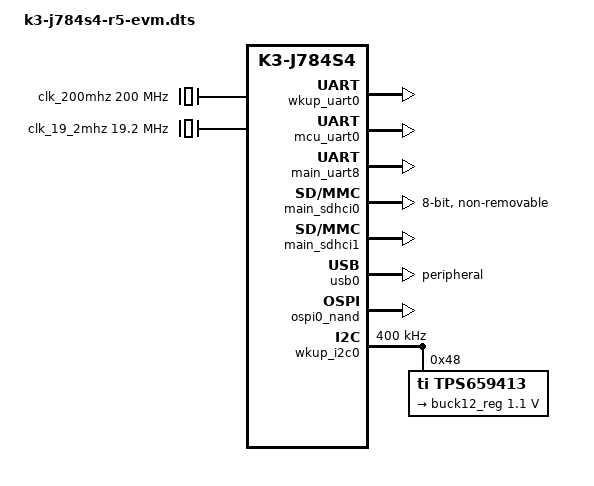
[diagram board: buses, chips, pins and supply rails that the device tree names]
// SPDX-License-Identifier: GPL-2.0
/*
 * Copyright (C) 2022 Texas Instruments Incorporated - https://www.ti.com/
 */

/dts-v1/;

#include "k3-j784s4-evm.dts"
#include "k3-j784s4-ddr-evm-lp4-4266.dtsi"
#include "k3-j784s4-ddr.dtsi"
#include "k3-j784s4-evm-u-boot.dtsi"

/ {
	chosen {
		firmware-loader = &fs_loader0;
		stdout-path = &main_uart8;
		tick-timer = &timer1;
	};

	aliases {
		remoteproc0 = &sysctrler;
		remoteproc1 = &a72_0;
	};

	fs_loader0: fs_loader@0 {
		compatible = "u-boot,fs-loader";
		bootph-all;
	};

	a72_0: a72@0 {
		compatible = "ti,am654-rproc";
		reg = <0x0 0x00a90000 0x0 0x10>;
		power-domains = <&k3_pds 61 TI_SCI_PD_EXCLUSIVE>,
				<&k3_pds 202 TI_SCI_PD_EXCLUSIVE>;
		resets = <&k3_reset 202 0>;
		clocks = <&k3_clks 61 0>;
		assigned-clocks = <&k3_clks 61 0>, <&k3_clks 202 0>;
		assigned-clock-parents = <&k3_clks 61 2>;
		assigned-clock-rates = <200000000>, <2000000000>;
		ti,sci = <&sms>;
		ti,sci-proc-id = <32>;
		ti,sci-host-id = <10>;
		bootph-pre-ram;
	};

	clk_200mhz: dummy_clock_200mhz {
		compatible = "fixed-clock";
		#clock-cells = <0>;
		clock-frequency = <200000000>;
		bootph-pre-ram;
	};

	clk_19_2mhz: dummy_clock_19_2mhz {
		compatible = "fixed-clock";
		#clock-cells = <0>;
		clock-frequency = <19200000>;
		bootph-pre-ram;
	};
};

&cbass_mcu_wakeup {
	sa3_secproxy: secproxy@44880000 {
		bootph-pre-ram;
		compatible = "ti,am654-secure-proxy";
		reg = <0x0 0x44880000 0x0 0x20000>,
		      <0x0 0x44860000 0x0 0x20000>,
		      <0x0 0x43600000 0x0 0x10000>;
		reg-names = "rt", "scfg", "target_data";
		#mbox-cells = <1>;
	};

	mcu_secproxy: secproxy@2a380000 {
		compatible = "ti,am654-secure-proxy";
		reg = <0x0 0x2a380000 0x0 0x80000>,
		      <0x0 0x2a400000 0x0 0x80000>,
		      <0x0 0x2a480000 0x0 0x80000>;
		reg-names = "rt", "scfg", "target_data";
		#mbox-cells = <1>;
		bootph-pre-ram;
	};

	sysctrler: sysctrler {
		compatible = "ti,am654-system-controller";
		mboxes= <&mcu_secproxy 4>, <&mcu_secproxy 5>, <&sa3_secproxy 5>;
		mbox-names = "tx", "rx", "boot_notify";
		bootph-pre-ram;
	};

	dm_tifs: dm-tifs {
		compatible = "ti,j721e-dm-sci";
		ti,host-id = <3>;
		ti,secure-host;
		mbox-names = "rx", "tx";
		mboxes= <&mcu_secproxy 21>,
			<&mcu_secproxy 23>;
		bootph-pre-ram;
	};
};

&main_pmx0 {
	bootph-pre-ram;

	main_usbss0_pins_default: main-usbss0-pins-default {
		pinctrl-single,pins = <
			J784S4_IOPAD(0x0ec, PIN_OUTPUT, 6) /* (AN37) TIMER_IO1.USB0_DRVVBUS */
		>;
	};
};

&wkup_pmx2 {
	bootph-pre-ram;
	wkup_gpio_pins_default: wkup_gpio_pins_default {
		pinctrl-single,pins = <
			J784S4_WKUP_IOPAD(0x070, PIN_INPUT, 7) /* (L37) WKUP_GPIO0_6 */
		>;
	};

	wkup_i2c0_pins_default: wkup-i2c0-pins-default {
		bootph-pre-ram;
		pinctrl-single,pins = <
			J784S4_WKUP_IOPAD(0x98, PIN_INPUT, 0) /* (N33) WKUP_I2C0_SCL */
			J784S4_WKUP_IOPAD(0x9c, PIN_INPUT, 0) /* (N35) WKUP_I2C0_SDA */
		>;
	};
};

&sms {
	mboxes= <&mcu_secproxy 8>, <&mcu_secproxy 6>, <&mcu_secproxy 5>;
	mbox-names = "tx", "rx", "notify";
	ti,host-id = <4>;
	ti,secure-host;
	bootph-pre-ram;
};

&wkup_uart0 {
	bootph-pre-ram;
	status = "okay";
	pinctrl-names = "default";
	pinctrl-0 = <&wkup_uart0_pins_default>;
};

&mcu_uart0 {
	bootph-pre-ram;
	status = "okay";
	pinctrl-names = "default";
	pinctrl-0 = <&mcu_uart0_pins_default>;
};

&main_uart8 {
	status = "okay";
	pinctrl-names = "default";
	pinctrl-0 = <&main_uart8_pins_default>;
};

&main_sdhci0 {
	/delete-property/ power-domains;
	/delete-property/ assigned-clocks;
	/delete-property/ assigned-clock-parents;
	status = "okay";
	clock-names = "clk_xin";
	clocks = <&clk_200mhz>;
	ti,driver-strength-ohm = <50>;
	non-removable;
	bus-width = <8>;
};

&main_sdhci1 {
	/delete-property/ power-domains;
	/delete-property/ assigned-clocks;
	/delete-property/ assigned-clock-parents;
	status = "okay";
	pinctrl-0 = <&main_mmc1_pins_default>;
	pinctrl-names = "default";
	clock-names = "clk_xin";
	clocks = <&clk_200mhz>;
	ti,driver-strength-ohm = <50>;
};

&usbss0 {
	pinctrl-names = "default";
	pinctrl-0 = <&main_usbss0_pins_default>;
	ti,vbus-divider;
};

&usb0 {
	dr_mode = "peripheral";
	maximum-speed = "super-speed";
};

&wkup_gpio0 {
	pinctrl-names = "default";
	pinctrl-0 = <&wkup_gpio_pins_default>;
};

&ospi0 {
	reg = <0x0 0x47040000 0x0 0x100>,
	      <0x0 0x50000000 0x0 0x8000000>;
};

&ospi0_nand {
	status = "okay";
};

&ospi1 {
	reg = <0x0 0x47050000 0x0 0x100>,
	      <0x0 0x58000000 0x0 0x8000000>;
};

&mcu_ringacc {
	ti,sci = <&dm_tifs>;
};

&mcu_udmap {
	ti,sci = <&dm_tifs>;
};

&wkup_i2c0 {
	bootph-pre-ram;
	pinctrl-names = "default";
	pinctrl-0 = <&wkup_i2c0_pins_default>;
	clock-frequency = <400000>;

	tps659413: tps659413@48 {
		compatible = "ti,tps659413";
		reg = <0x48>;
		bootph-pre-ram;

		regulators: regulators {
			bootph-pre-ram;
			buck12_reg: buck12 {
				/*VDD_DDR_1V1*/
				regulator-name = "buck12";
				regulator-min-microvolt = <1100000>;
				regulator-max-microvolt = <1100000>;
				regulator-always-on;
				regulator-boot-on;
				bootph-pre-ram;
			};
		};

		esm: esm {
			compatible = "ti,tps659413-esm";
			bootph-pre-ram;
		};
	};
};
